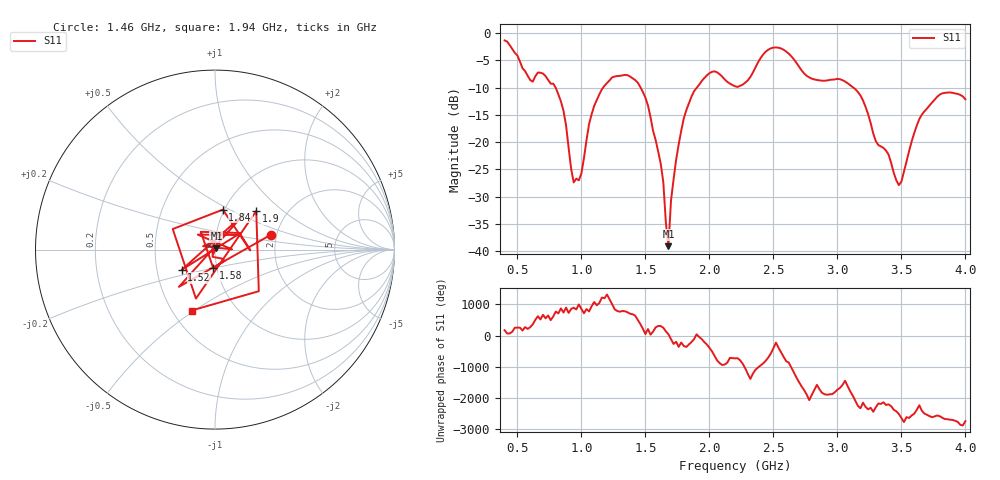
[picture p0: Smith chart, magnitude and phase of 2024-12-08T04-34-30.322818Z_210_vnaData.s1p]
!Created with skrf (http://scikit-rf.org).
# Hz S RI R 50.0
!freq ReS11 ImS11
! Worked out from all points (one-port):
!   181 points, 400 MHz to 4 GHz, reference 50 ohm
!   lowest |S11| = -39.1 dB at 1.68 GHz (marker M1), VSWR 1.02, Z = 50.8 + j0.783 ohm
!   |S11| at or under -10 dB: 798.6 MHz to 1.17 GHz (371 MHz wide, 37.7 % of centre); 1.463 GHz to 1.902 GHz (438.8 MHz wide, 26.1 % of centre); 3.124 GHz to end of sweep
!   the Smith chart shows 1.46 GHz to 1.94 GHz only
!   S11 on the Smith chart (normalised r, x): 1.46 GHz: 1.86, +0.34; 1.52 GHz: 0.67, -0.16; 1.58 GHz: 0.96, -0.20; 1.84 GHz: 0.98, +0.46; 1.9 GHz: 1.41, +0.67; 1.94 GHz: 0.62, -0.49
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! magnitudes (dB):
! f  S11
! 400 MHz  -1.3
! 600 MHz  -8.6
! 780 MHz  -9.3
! 860 MHz  -14.2
! 940 MHz  -27.4
! 980 MHz  -27.0
! 1.1 GHz  -13.3
! 1.3 GHz  -7.8
! 1.46 GHz  -9.9
! 1.52 GHz  -13.3
! 1.58 GHz  -19.6
! 1.64 GHz  -27.4
! 1.68 GHz  -39.1
! 1.7 GHz  -30.7
! 1.76 GHz  -20.4
! 1.84 GHz  -12.9
! 1.9 GHz  -10.0
! 1.94 GHz  -8.8
! 2.04 GHz  -7.0
! 2.2 GHz  -9.7
! 2.48 GHz  -2.8
! 2.66 GHz  -4.8
! 3.1 GHz  -9.6
! 3.48 GHz  -27.9
! 3.56 GHz  -21.7
! 3.64 GHz  -15.8
! 3.78 GHz  -11.7
! 4 GHz  -12.1
